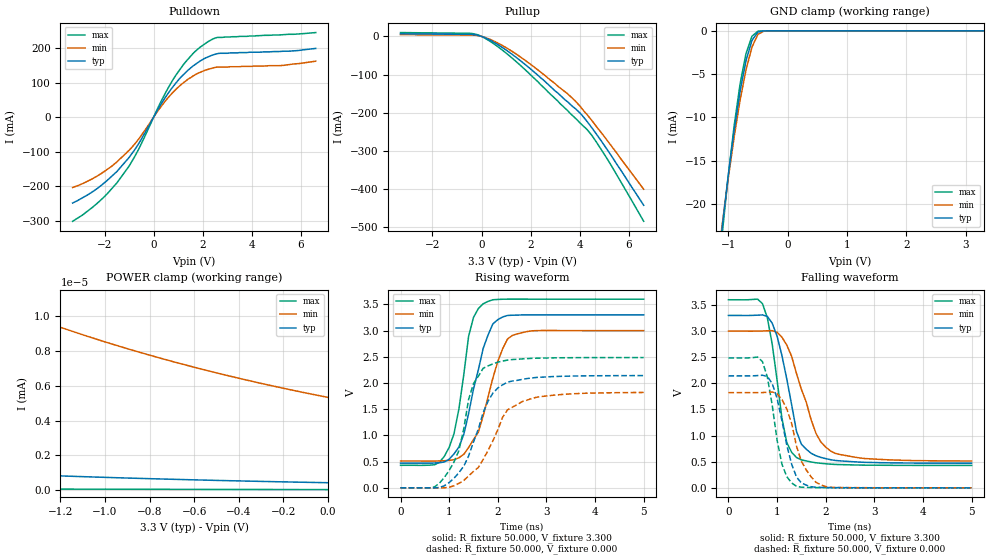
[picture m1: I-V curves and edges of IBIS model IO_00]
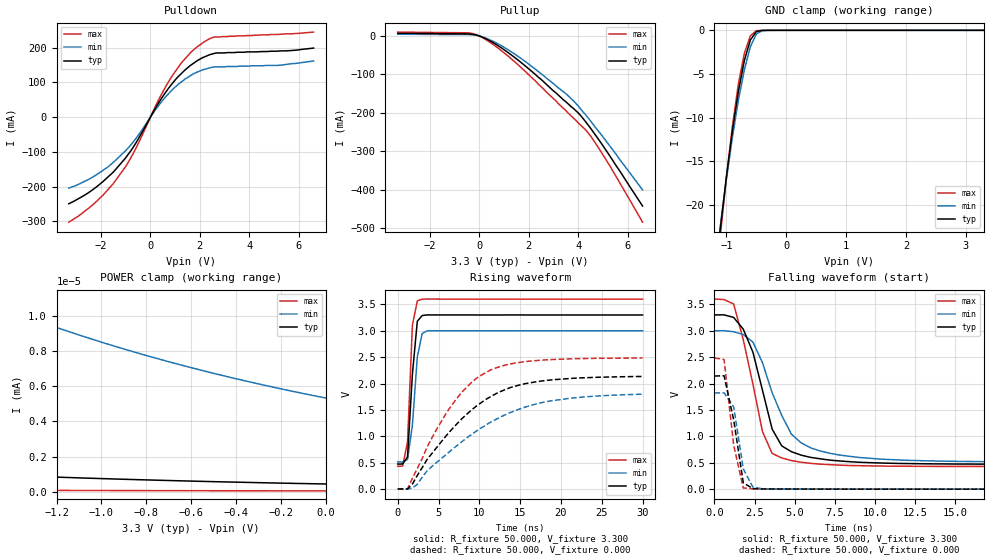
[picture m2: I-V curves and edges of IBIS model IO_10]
| / 7\'7   Xilinx XC9500 I/O Buffer IBIS File
| \ \   Xilinx Inc.
| / /   2100 Logic Drive
| \_\/.\   San Jose,   CA 95124
[IBIS ver]   3.2
[File name]   cpumodule.ibs
[File Rev]   1.3
[Date]   Mon Sep 28 10:11:03 2026
[Source]   Spice netlist
[Notes]   - max/min process data is not included in this ibis model
   - Control flag setting:
   SLW=0 - fast slew rate
   SLW=1 - slow slew rate
   VIO=0 - 3.3V Vddio
   VIO=1 - 5.0V Vddio
   NOTE: This file is compliant with IBIS Version 3.2, but it
   may not implement all approved 3.2 features.
   NOTE:  Newer versions of the buffer models may be available.
   Check the web (http://www.xilinx.com/support/sw_ibis.htm) for
   the latest file revision.  However, please be aware that the
   web files are not compatible for use with IBISWriter, and
   must be manually annotated, should their use be preferred.
[Disclaimer] The data in this model is derived from SPICE simulations
                 using modeling information extracted from the target pro-
                 cess. While a great deal of care has been take to provide
                 information that is accurate, this model is considered
                 preliminary as it has not been verified by actual silicon
                 measurement. Treat the data in this model as preliminary
                 until actual silicon verification is performed.
[Copyright]   Xilinx Inc.
|   Component XC9500
[Component]   XC9500
[Manufacturer]   Xilinx Inc.
[Package]
| For Package Type pc44
| variable   typ   min   max
R_pkg   0.0675m   0.066m   0.069m
L_pkg   3.910nH   3.550nH   4.260nH
C_pkg   0.895pF   0.790pF   1.000pF
[Pin]  signal_name   model_name   R_pin   L_pin   C_pin
7   bank<7>   IO_10
6   bank<6>   IO_10
39   bank<5>   IO_10
29   bank<4>   IO_10
18   bank<3>   IO_10
40   bank<2>   IO_10
42   bank<1>   IO_10
27   bank<0>   IO_10
11   a12_11<1>   IO_10
36   a12_11<0>   IO_10
12   vda   IO_10
3   a15_13<2>   IO_10
20   a15_13<1>   IO_10
44   a15_13<0>   IO_10
8   a10   IO_10
5   clk   IO_10
24   rw   IO_10
34   vpa   IO_10
25   rom   IO_00
19   phi1   IO_00
2   cas0   IO_00
4   cas1   IO_00
9   cas2   IO_00
13   cas3   IO_00
43   io0   IO_00
38   io1   IO_00
37   io2   IO_00
35   io3   IO_00
33   io4   IO_00
28   io5   IO_00
26   io6   IO_00
1   io7   IO_00
14   phi0   IO_00
22   ras   IO_00
| Models and submodels in the file (2): IO_00 (I/O), IO_10 (I/O)
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|   Model IO_00
[Model]   IO_00
Model_type   I/O
Polarity   Non-Inverting
Enable   Active-High
Vinl =   0.800V
Vinh =   2.000V
Vmeas =   1.650V
Cref =  50.000pF
Rref =   1.000M
Vref =  0.000V
C_comp   8.000pF   6.000pF   10.000pF
[Temperature Range]   50.000   100.000   0.000
[Voltage Range]   3.300V   3.000V   3.600V
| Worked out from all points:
|   slope of the pulldown table from 0 to 0.495 V, typ, clamps not added: 8.38 ohm
|   slope of the pullup table from 0 to 0.495 V, typ, clamps not added: 32.7 ohm
|   GND clamp passes 1 mA (typ) near -0.59 V on its own axis
|   POWER clamp passes 1 mA (typ) near -2.62 V on its own axis
|   rising waveform, R_fixture 50.000, V_fixture 3.300: 20-80 % time 424ps typ, 475ps min, 314ps max; typ from 0.472 V to 3.3 V
|   rising waveform, R_fixture 50.000, V_fixture 0.000: 20-80 % time 531ps typ, 609ps min, 399ps max; typ from 0 V to 2.14 V
|   falling waveform, R_fixture 50.000, V_fixture 3.300: 20-80 % time 371ps typ, 516ps min, 300ps max; typ from 3.3 V to 0.472 V
|   falling waveform, R_fixture 50.000, V_fixture 0.000: 20-80 % time 309ps typ, 369ps min, 266ps max; typ from 2.14 V to 0 V
[Pulldown]
| voltage   I(typ)   I(min)   I(max)
-3.3V     -249mA     -204mA     -302mA
-2.3V     -207mA     -171mA     -250mA
-1.5V     -158mA     -130mA     -191mA
-1V       -117mA     -96.33mA   -142mA
-700mV    -87.07mA   -71.85mA   -105mA
300mV     37.26mA    30.59mA    45.34mA
800mV     89.38mA    72.76mA    110mA
1.3V      129mA      104mA      160mA
1.9V      163mA      130mA      203mA
2.6V      184mA      145mA      231mA
5.1V      190mA      149mA      238mA
6.6V      199mA      162mA      245mA
[Pullup]
| voltage   I(typ)   I(min)   I(max)
-3.3V     6.866mA    4.62mA     10.1mA
-300mV    4.692mA    3.207mA    6.723mA
-100mV    2.086mA    1.502mA    2.882mA
200mV     -5.344mA   -4.077mA   -7.033mA
800mV     -27.08mA   -22.04mA   -33.58mA
1.9V      -80.12mA   -68.48mA   -94.62mA
3.5V      -171mA     -150mA     -194mA
4V        -200mA     -182mA     -226mA
4.3V      -223mA     -205mA     -244mA
4.5V      -240mA     -221mA     -260mA
5.1V      -295mA     -271mA     -319mA
6.6V      -442mA     -400mA     -484mA
[GND_clamp]
| voltage   I(typ)   I(min)   I(max)
-3.3V     -211mA     -187mA     -240mA
-1.1V     -22.63mA   -22.34mA   -23.43mA
-1V       -16.78mA   -17.07mA   -16.83mA
-900mV    -11.52mA   -12.27mA   -10.99mA
-800mV    -7.005mA   -8.035mA   -6.143mA
-700mV    -3.443mA   -4.508mA   -2.631mA
-600mV    -1.112mA   -1.886mA   -628uA
-500mV    -146uA     -411uA     -39.6uA
-400mV    -11.61uA   -42.16uA   -2.469uA
-300mV    -1.054uA   -5.205uA   -140nA
3.3V      432pA      6.144nA    31.96pA
[POWER_clamp]
| voltage   I(typ)   I(min)   I(max)
-3.3V     5.154mA    7.51mA     3.331mA
-2.4V     123uA      1.138mA    24.22nA
-2.3V     13.62uA    619uA      419pA
-2.2V     550nA      241uA      105pA
-2.1V     16.36nA    51.5uA     96.67pA
-2V       1.649nA    4.929uA    92.27pA
-1.9V     1.21nA     273nA      88.15pA
-1.6V     1.022nA    11.32nA    76.95pA
-1.5V     968pA      10.78nA    73.57pA
-800mV    665pA      7.766nA    53.78pA
-400mV    536pA      6.439nA    44.83pA
0V        432pA      5.338nA    37.11pA
[Ramp]
| variable   typ   min   max
dV/dt_r   1.285/0.526n   1.092/0.632n   1.492/0.424n
dV/dt_f   1.697/0.382n   1.492/0.510n   1.902/0.286n
R_load = 50.000
[Rising Waveform]
R_fixture = 50.000
V_fixture = 3.300
V_fixture_min = 3.000
V_fixture_max = 3.600
L_fixture = 0.000H
C_fixture = 0.000F
| time   V(typ)   V(min)   V(max)
0s        472mV      512mV      430mV
700ps     474mV      511mV      440mV
1ns       546mV      524mV      772mV
1.2ns     777mV      574mV      1.503V
1.4ns     1.416V     769mV      2.892V
1.5ns     1.883V     921mV      3.251V
1.7ns     2.661V     1.374V     3.513V
2ns       3.209V     2.411V     3.595V
2.3ns     3.294V     2.909V     3.601V
5ns       3.3V       3V         3.6V
[Rising Waveform]
R_fixture = 50.000
V_fixture = 0.000
V_fixture_min = 0.000
V_fixture_max = 0.000
L_fixture = 0.000H
C_fixture = 0.000F
| time   V(typ)   V(min)   V(max)
0s        0V         0V         0V
900ps     40.2mV     570uV      196mV
1.2ns     288mV      85.05mV    711mV
1.3ns     413mV      139mV      1.126V
1.5ns     875mV      313mV      1.988V
1.7ns     1.438V     543mV      2.282V
1.9ns     1.807V     898mV      2.366V
2.2ns     2.017V     1.488V     2.437V
2.5ns     2.069V     1.645V     2.46V
5ns       2.142V     1.82V      2.486V
[Falling Waveform]
R_fixture = 50.000
V_fixture = 3.300
V_fixture_min = 3.000
V_fixture_max = 3.600
L_fixture = 0.000H
C_fixture = 0.000F
| time   V(typ)   V(min)   V(max)
0s        3.3V       3V         3.6V
700ps     3.31V      3.002V     3.525V
900ps     3.151V     3.008V     2.75V
1.1ns     2.532V     2.883V     1.332V
1.2ns     2.083V     2.732V     866mV
1.4ns     1.079V     2.187V     580mV
1.5ns     836mV      1.886V     536mV
1.8ns     614mV      1.044V     480mV
2.2ns     524mV      659mV      448mV
5ns       472mV      514mV      430mV
[Falling Waveform]
R_fixture = 50.000
V_fixture = 0.000
V_fixture_min = 0.000
V_fixture_max = 0.000
L_fixture = 0.000H
C_fixture = 0.000F
| time   V(typ)   V(min)   V(max)
0s        2.142V     1.822V     2.486V
700ps     2.155V     1.824V     2.415V
800ps     2.133V     1.829V     2.123V
900ps     1.996V     1.835V     1.583V
1.1ns     1.287V     1.693V     453mV
1.3ns     452mV      1.232V     94.06mV
1.4ns     207mV      797mV      28.25mV
1.7ns     21.29mV    211mV      6.84mV
2ns       6.649mV    23.19mV    3.202mV
5ns       11.43uV    124uV      26.53uV
|   Model IO_10
[Model]   IO_10
Model_type   I/O
Polarity   Non-Inverting
Enable   Active-High
Vinl =   0.800V
Vinh =   2.000V
Vmeas =   1.650V
Cref =  50.000pF
Rref =   1.000M
Vref =  0.000V
C_comp   8.000pF   6.000pF   10.000pF
[Temperature Range]   50.000   100.000   0.000
[Voltage Range]   3.300V   3.000V   3.600V
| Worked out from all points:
|   slope of the pulldown table from 0 to 0.495 V, typ, clamps not added: 8.38 ohm
|   slope of the pullup table from 0 to 0.495 V, typ, clamps not added: 32.7 ohm
|   GND clamp passes 1 mA (typ) near -0.59 V on its own axis
|   POWER clamp passes 1 mA (typ) near -2.62 V on its own axis
|   rising waveform, R_fixture 50.000, V_fixture 3.300: 20-80 % time 768ps typ, 784ps min, 513ps max; typ from 0.472 V to 3.3 V
|   rising waveform, R_fixture 50.000, V_fixture 0.000: 20-80 % time 7.81ns typ, 9.92ns min, 6.08ns max; typ from 0 V to 2.13 V
|   falling waveform, R_fixture 50.000, V_fixture 3.300: 20-80 % time 1.58ns typ, 2.09ns min, 1.36ns max; typ from 3.3 V to 0.472 V
|   falling waveform, R_fixture 50.000, V_fixture 0.000: 20-80 % time 733ps typ, 583ps min, 677ps max; typ from 2.14 V to 0 V
[Pulldown]
| voltage   I(typ)   I(min)   I(max)
-3.3V     -249mA     -204mA     -302mA
-2.3V     -207mA     -171mA     -250mA
-1.5V     -158mA     -130mA     -191mA
-1V       -117mA     -96.33mA   -142mA
-700mV    -87.07mA   -71.85mA   -105mA
300mV     37.26mA    30.59mA    45.34mA
800mV     89.38mA    72.75mA    110mA
1.3V      129mA      104mA      160mA
1.9V      163mA      130mA      203mA
2.6V      184mA      145mA      231mA
5.1V      190mA      149mA      238mA
6.6V      199mA      162mA      245mA
[Pullup]
| voltage   I(typ)   I(min)   I(max)
-3.3V     6.866mA    4.62mA     10.1mA
-300mV    4.692mA    3.206mA    6.723mA
-100mV    2.086mA    1.502mA    2.882mA
200mV     -5.344mA   -4.077mA   -7.033mA
800mV     -27.08mA   -22.04mA   -33.58mA
1.9V      -80.12mA   -68.48mA   -94.62mA
3.5V      -171mA     -150mA     -194mA
4V        -200mA     -182mA     -226mA
4.3V      -223mA     -205mA     -244mA
4.5V      -240mA     -221mA     -260mA
5.1V      -295mA     -271mA     -319mA
6.6V      -442mA     -400mA     -484mA
[GND_clamp]
| voltage   I(typ)   I(min)   I(max)
-3.3V     -211mA     -187mA     -240mA
-1.1V     -22.63mA   -22.34mA   -23.43mA
-1V       -16.78mA   -17.07mA   -16.83mA
-900mV    -11.52mA   -12.27mA   -10.99mA
-800mV    -7.005mA   -8.035mA   -6.143mA
-700mV    -3.443mA   -4.508mA   -2.631mA
-600mV    -1.112mA   -1.886mA   -628uA
-500mV    -146uA     -411uA     -39.6uA
-400mV    -11.61uA   -42.16uA   -2.469uA
-300mV    -1.054uA   -5.205uA   -140nA
3.3V      432pA      6.144nA    31.96pA
[POWER_clamp]
| voltage   I(typ)   I(min)   I(max)
-3.3V     5.154mA    7.51mA     3.331mA
-2.4V     123uA      1.138mA    24.22nA
-2.3V     13.62uA    619uA      419pA
-2.2V     550nA      241uA      105pA
-2.1V     16.36nA    51.5uA     96.67pA
-2V       1.649nA    4.929uA    92.27pA
-1.9V     1.21nA     273nA      88.15pA
-1.6V     1.022nA    11.32nA    76.95pA
-1.5V     968pA      10.78nA    73.57pA
-800mV    665pA      7.766nA    53.78pA
-400mV    536pA      6.439nA    44.83pA
0V        432pA      5.338nA    37.11pA
[Ramp]
| variable   typ   min   max
dV/dt_r   1.280/7.938n   1.078/9.930n   1.490/6.251n
dV/dt_f   1.697/1.613n   1.493/2.185n   1.902/1.086n
R_load = 50.000
[Rising Waveform]
R_fixture = 50.000
V_fixture = 3.300
V_fixture_min = 3.000
V_fixture_max = 3.600
L_fixture = 0.000H
C_fixture = 0.000F
| time   V(typ)   V(min)   V(max)
0s        472mV      512mV      430mV
600ps     473mV      511mV      434mV
1.2ns     608mV      561mV      888mV
1.8ns     2.181V     1.212V     3.111V
2.4ns     3.181V     2.507V     3.568V
3ns       3.29V      2.948V     3.599V
3.6ns     3.301V     3V         3.602V
30ns      3.3V       3V         3.6V
[Rising Waveform]
R_fixture = 50.000
V_fixture = 0.000
V_fixture_min = 0.000
V_fixture_max = 0.000
L_fixture = 0.000H
C_fixture = 0.000F
| time   V(typ)   V(min)   V(max)
0s        -20.61uV   -20.13uV   -10.51uV
1.2ns     80.5uV     -4.061mV   3.61mV
2.4ns     256mV      88.66mV    388mV
4.2ns     675mV      428mV      971mV
7.2ns     1.226V     815mV      1.709V
9ns       1.493V     1.027V     2.014V
11.4ns    1.752V     1.268V     2.259V
14.4ns    1.95V      1.487V     2.389V
18.6ns    2.065V     1.666V     2.452V
30ns      2.134V     1.797V     2.484V
[Falling Waveform]
R_fixture = 50.000
V_fixture = 3.300
V_fixture_min = 3.000
V_fixture_max = 3.600
L_fixture = 0.000H
C_fixture = 0.000F
| time   V(typ)   V(min)   V(max)
0s        3.3V       3V         3.6V
1.2ns     3.252V     2.981V     3.505V
1.8ns     3.029V     2.929V     2.829V
2.4ns     2.594V     2.785V     1.989V
3ns       1.868V     2.393V     1.087V
3.6ns     1.137V     1.825V     677mV
4.2ns     819mV      1.396V     591mV
5.4ns     645mV      879mV      510mV
9ns       510mV      601mV      445mV
30ns      472mV      512mV      430mV
[Falling Waveform]
R_fixture = 50.000
V_fixture = 0.000
V_fixture_min = 0.000
V_fixture_max = 0.000
L_fixture = 0.000H
C_fixture = 0.000F
| time   V(typ)   V(min)   V(max)
0s        2.142V     1.822V     2.486V
600ps     2.148V     1.824V     2.455V
1.2ns     1.313V     1.561V     833mV
1.8ns     121mV      385mV      24.09mV
2.4ns     9.881mV    36.98mV    5.526mV
3ns       4.485mV    7.228mV    3.735mV
30ns      1.589uV    4.522uV    0V
